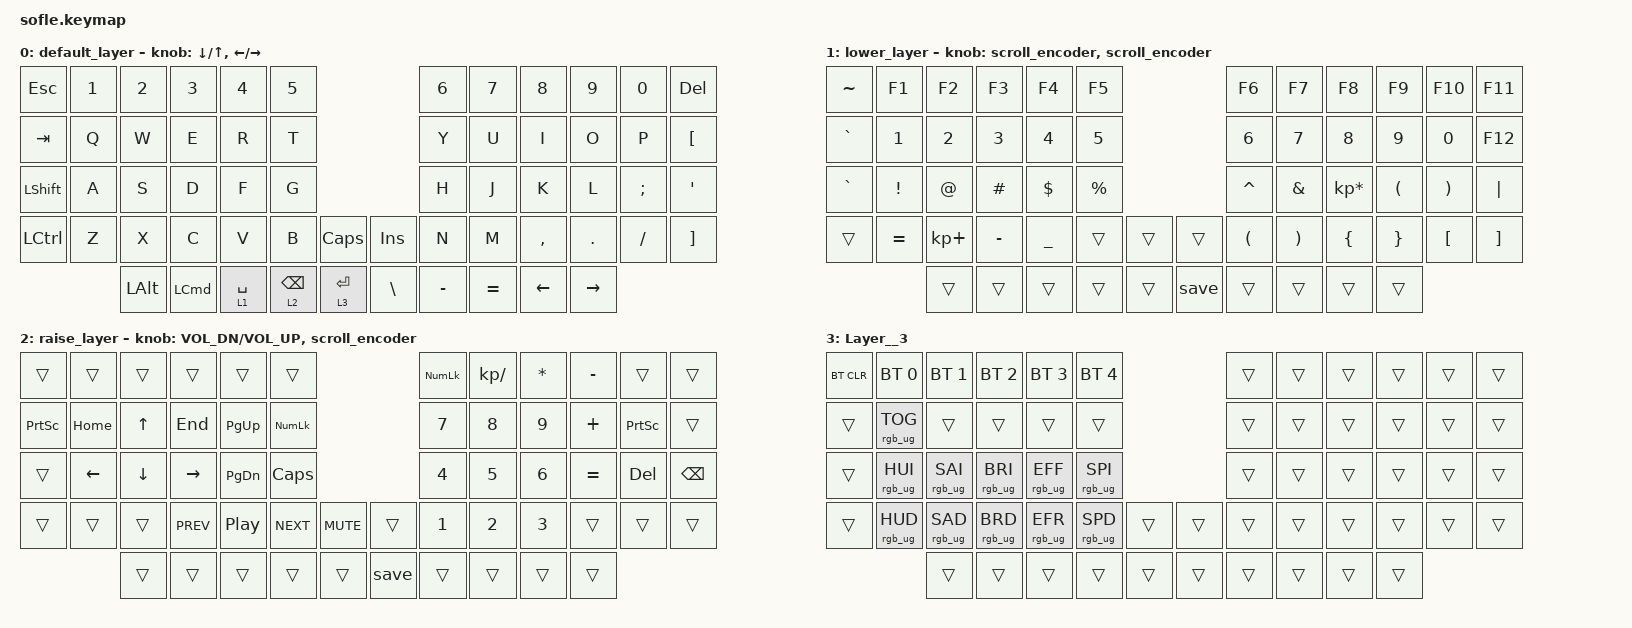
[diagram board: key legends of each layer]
/*
 * Copyright (c) 2020 The ZMK Contributors
 *
 * SPDX-License-Identifier: MIT
 */

#include <dt-bindings/zmk/mouse.h>


#include <behaviors.dtsi>
#include <dt-bindings/zmk/bt.h>
#include <dt-bindings/zmk/keys.h>
#include <dt-bindings/zmk/rgb.h>

#include <input/processors.dtsi>
#include <zephyr/dt-bindings/input/input-event-codes.h>
#include <dt-bindings/zmk/outputs.h>
#include <dt-bindings/zmk/pointing.h>

#define ZMK_POINTING_DEFAULT_MOVE_VAL 1200 // 1200
#define ZMK_POINTING_DEFAULT_SCRL_VAL 25 // 25

&mmv_input_listener { input-processors = <&zip_xy_scaler 2 1>; };

&msc_input_listener { input-processors = <&zip_scroll_scaler 2 1>; };

&msc {
    acceleration-exponent = <1>;      // 0
    time-to-max-speed-ms = <100>;       // 300
    delay-ms = <0>;                   // 0
};

&mmv {
    time-to-max-speed-ms = <500>;
    acceleration-exponent = <1>;
    trigger-period-ms = <16>;
};

&lt {
    flavor = "hold-preferred";
    quick-tap-ms = <200>;
};

/ {
    scroll_encoder: scroll_encoder {
        compatible = "zmk,behavior-sensor-rotate";
        #sensor-binding-cells = <0>;
        bindings = <&msc SCRL_DOWN>, <&msc SCRL_UP>;

        tap-ms = <100>;
    };

    behaviors {
    };

    combos {
        compatible = "zmk,combos";

        new_combo {
            bindings = <&trans>;
            key-positions = <>;
        };
    };

    macros {
        save: save {
            compatible = "zmk,behavior-macro";
            #binding-cells = <0>;
            bindings = <&kp ESCAPE &kp COLON &kp W>;
            label = "SAVE";
        };
    };

    keymap {
        compatible = "zmk,keymap";

        default_layer {
            // ------------------------------------------------------------------------------------------------------------
            // |  `    |  1  |  2  |  3   |  4   |  5   |                   |  6   |  7    |  8    |  9   |   0   |       |
            // |  ESC  |  Q  |  W  |  E   |  R   |  T   |                   |  Y   |  U    |  I    |  O   |   P   | BKSPC |
            // |  TAB  |  A  |  S  |  D   |  F   |  G   |                   |  H   |  J    |  K    |  L   |   ;   |   '   |
            // | SHIFT |  Z  |  X  |  C   |  V   |  B   |  MUTE  |  |       |  N   |  M    |  ,    |  .   |   /   | SHIFT |
            //               | GUI | ALT  | CTRL | LOWER|  ENTER |  | SPACE | RAISE| CTRL  | ALT   | GUI  |

            bindings = <
&kp ESCAPE  &kp N1  &kp N2        &kp N3            &kp N4       &kp N5                                        &kp N6     &kp N7     &kp N8          &kp N9     &kp N0    &kp DELETE
&kp TAB     &kp Q   &kp W         &kp E             &kp R        &kp T                                         &kp Y      &kp U      &kp I           &kp O      &kp P     &kp LBKT
&kp LSHFT   &kp A   &kp S         &kp D             &kp F        &kp G                                         &kp H      &kp J      &kp K           &kp L      &kp SEMI  &kp SQT
&kp LCTRL   &kp Z   &kp X         &kp C             &kp V        &kp B            &kp CAPSLOCK  &kp INSERT     &kp N      &kp M      &kp COMMA       &kp DOT    &kp FSLH  &kp RBKT
                    &kp LEFT_ALT  &kp LEFT_COMMAND  &lt 1 SPACE  &lt 2 BACKSPACE  &lt 3 ENTER   &kp BACKSLASH  &kp MINUS  &kp EQUAL  &kp LEFT_ARROW  &kp RIGHT
            >;

            sensor-bindings =
                <&inc_dec_kp DOWN_ARROW UP_ARROW>,
                <&inc_dec_kp LEFT_ARROW RIGHT_ARROW>;
        };

        lower_layer {
            // TODO: Some binds are waiting for shifted keycode support.
            // ------------------------------------------------------------------------------------------------------------
            // |       |  F1 |  F2 |  F3  |  F4  |  F5  |                   |  F6  |  F7   |  F8   |  F9  |  F10  |  F11  |
            // | `     |   1 |   2 |   3  |   4  |   5  |                   |   6  |   7   |   8   |   9  |    0  |  F12  |
            // |       |  !  |  @  |  #   |  $   |  %   |                   |  ^   |  &    |  *    |  (   |   )   |   |   |
            // |       |  =  |  -  |  +   |  {   |  }   |        |  |       |  [   |  ]    |  ;    |  :   |   \   |       |
            //               |     |      |      |      |        |  |       |      |       |       |      |

            bindings = <
&kp TILDE  &kp F1     &kp F2       &kp F3     &kp F4     &kp F5                     &kp F6                &kp F7                 &kp F8           &kp F9           &kp F10           &kp F11
&kp GRAVE  &kp N1     &kp N2       &kp N3     &kp N4     &kp N5                     &kp N6                &kp N7                 &kp N8           &kp NUMBER_9     &kp N0            &kp F12
&kp GRAVE  &kp EXCL   &kp AT       &kp HASH   &kp DLLR   &kp PRCNT                  &kp CARET             &kp AMPS               &kp KP_MULTIPLY  &kp LPAR         &kp RPAR          &kp PIPE
&trans     &kp EQUAL  &kp KP_PLUS  &kp MINUS  &kp UNDER  &trans     &trans  &trans  &kp LEFT_PARENTHESIS  &kp RIGHT_PARENTHESIS  &kp LEFT_BRACE   &kp RIGHT_BRACE  &kp LEFT_BRACKET  &kp RIGHT_BRACKET
                      &trans       &trans     &trans     &trans     &trans  &save   &trans                &trans                 &trans           &trans
            >;

            sensor-bindings = <&scroll_encoder>, <&scroll_encoder>;
        };

        raise_layer {
            // ------------------------------------------------------------------------------------------------------------
            // |BTCLR| BT1  | BT2  |  BT3  |  BT4  |  BT5 |                |      |      |       |      |       |       |
            // |     | INS  | PSCR | GUI   |       |      |                | PGUP |      |       |      |       |       |
            // |     | ALT  | CTRL | SHIFT |       | CAPS |                |  <-  |   ^  |   v   |  ->  |  DEL  | BKSPC |
            // |     | UNDO | CUT  | COPY  | PASTE |      |      |  |      |      |      |       |      |       |       |
            //              |      |       |       |      |      |  |      |      |      |       |      |

            bindings = <
&trans           &trans    &trans    &trans      &trans            &trans                          &kp KP_NUMLOCK  &kp KP_DIVIDE  &kp STAR      &kp MINUS  &trans           &trans
&kp PRINTSCREEN  &kp HOME  &kp UP    &kp END     &kp PAGE_UP       &kp KP_NUM                      &kp NUMBER_7    &kp NUMBER_8   &kp NUMBER_9  &kp PLUS   &kp PRINTSCREEN  &trans
&trans           &kp LEFT  &kp DOWN  &kp RIGHT   &kp PAGE_DOWN     &kp CLCK                        &kp NUMBER_4    &kp NUMBER_5   &kp NUMBER_6  &kp EQUAL  &kp DEL          &kp BSPC
&trans           &trans    &trans    &kp C_PREV  &kp C_PLAY_PAUSE  &kp C_NEXT  &kp C_MUTE  &trans  &kp NUMBER_1    &kp NUMBER_2   &kp NUMBER_3  &trans     &trans           &trans
                           &trans    &trans      &trans            &trans      &trans      &save   &trans          &trans         &trans        &trans
            >;

            sensor-bindings =
                <&inc_dec_kp C_VOL_DN C_VOL_UP>,
                <&scroll_encoder>;
        };

        Layer__3 {
            bindings = <
&bt BT_CLR  &bt BT_SEL 0     &bt BT_SEL 1     &bt BT_SEL 2     &bt BT_SEL 3     &bt BT_SEL 4                     &trans  &trans  &trans  &trans  &trans  &trans
&trans      &rgb_ug RGB_TOG  &trans           &trans           &trans           &trans                           &trans  &trans  &trans  &trans  &trans  &trans
&trans      &rgb_ug RGB_HUI  &rgb_ug RGB_SAI  &rgb_ug RGB_BRI  &rgb_ug RGB_EFF  &rgb_ug RGB_SPI                  &trans  &trans  &trans  &trans  &trans  &trans
&trans      &rgb_ug RGB_HUD  &rgb_ug RGB_SAD  &rgb_ug RGB_BRD  &rgb_ug RGB_EFR  &rgb_ug RGB_SPD  &trans  &trans  &trans  &trans  &trans  &trans  &trans  &trans
                             &trans           &trans           &trans           &trans           &trans  &trans  &trans  &trans  &trans  &trans
            >;
        };
    };
};
